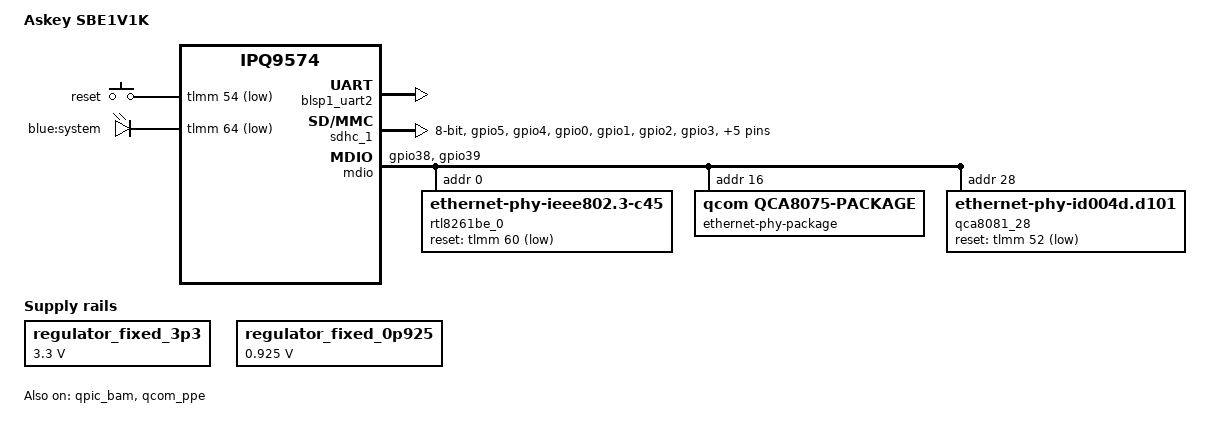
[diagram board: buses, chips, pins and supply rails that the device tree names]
// SPDX-License-Identifier: (GPL-2.0+ OR BSD-3-Clause)

/dts-v1/;

#include "ipq9574.dtsi"

#include <dt-bindings/gpio/gpio.h>
#include <dt-bindings/input/input.h>
#include <dt-bindings/leds/common.h>

/ {
	model = "Askey SBE1V1K";
	compatible = "askey,sbe1v1k", "qcom,ipq9574";

	aliases {
		/*
		led-boot = &led_system;
		led-failsafe = &led_system;
		led-running = &led_system;
		led-upgrade = &led_system;
		*/

		serial0 = &blsp1_uart2;
	};

	chosen {
		stdout-path = "serial0:115200n8";
	};

	regulator_fixed_3p3: s3300 {
		compatible = "regulator-fixed";
		regulator-min-microvolt = <3300000>;
		regulator-max-microvolt = <3300000>;
		regulator-boot-on;
		regulator-always-on;
		regulator-name = "fixed_3p3";
	};

	regulator_fixed_0p925: s0925 {
		compatible = "regulator-fixed";
		regulator-min-microvolt = <925000>;
		regulator-max-microvolt = <925000>;
		regulator-boot-on;
		regulator-always-on;
		regulator-name = "fixed_0p925";
	};

	gpio-keys {
		compatible = "gpio-keys";
		pinctrl-0 = <&gpio_keys_default>;
		pinctrl-names = "default";

		reset {
			label = "reset";
			linux,code = <KEY_RESTART>;
			gpios = <&tlmm 54 GPIO_ACTIVE_LOW>;
			debounce-interal = <60>;
		};
	};

	leds {
		compatible = "gpio-leds";
		
		led_system {
			label = "blue:system";
			gpios = <&tlmm 64 GPIO_ACTIVE_LOW>;
		};
		// OEM DTS uses GPIO 44, 45, 56 and 53 for PWM - not sure for colors?
	};
};

&blsp1_uart2 {
	pinctrl-0 = <&uart2_pins>;
	pinctrl-names = "default";
	status = "okay";
};

&rpm_requests {
	regulators {
		compatible = "qcom,rpm-mp5496-regulators";

		ipq9574_s1: s1 {
		/*
		* During kernel bootup, the SoC runs at 800MHz with 875mV set by the bootloaders.
		* During regulator registration, kernel not knowing the initial voltage,
		* considers it as zero and brings up the regulators with minimum supported voltage.
		* Update the regulator-min-microvolt with SVS voltage of 725mV so that
		* the regulators are brought up with 725mV which is sufficient for all the
		* corner parts to operate at 800MHz
		*/
			regulator-min-microvolt = <725000>;
			regulator-max-microvolt = <1075000>;
		};

		mp5496_l5: l5 {
			regulator-min-microvolt = <1800000>;
			regulator-max-microvolt = <1800000>;
			regulator-always-on;
			regulator-boot-on;
		};
	};
};

&sdhc_1 {
	bus-width = <8>;
	max-frequency = <384000000>;
	mmc-ddr-1_8v;
	mmc-hs200-1_8v;
	mmc-hs400-1_8v;
	mmc-hs400-enhanced-strobe;
	pinctrl-0 = <&sdc_default_state>;
	pinctrl-names = "default";
	status = "okay";
};

&sleep_clk {
	clock-frequency = <32000>;
};

&tlmm {
	gpio_keys_default: gpio-keys-default-state {
		// TODO: verify GPIO54
		pins = "gpio54";
		function = "gpio";
		drive-strength = <8>;
		bias-pull-up;
	};

	mdio_pins: mdio-pins {
		mdc {
			pins = "gpio38";
			function = "mdc";
			drive-strength = <8>;
			bias-pull-up;
		};

		mdio {
			pins = "gpio39";
			function = "mdio";
			drive-strength = <8>;
			bias-pull-up;
		};
	};

	sdc_default_state: sdc-default-state {
		clk-pins {
			pins = "gpio5";
			function = "sdc_clk";
			drive-strength = <8>;
			bias-disable;
		};

		cmd-pins {
			pins = "gpio4";
			function = "sdc_cmd";
			drive-strength = <8>;
			bias-pull-up;
		};

		data-pins {
			pins = "gpio0", "gpio1", "gpio2",
				"gpio3", "gpio6", "gpio7",
				"gpio8", "gpio9";
			function = "sdc_data";
			drive-strength = <8>;
			bias-pull-up;
		};

		rclk-pins {
			pins = "gpio10";
			function = "sdc_rclk";
			drive-strength = <8>;
			bias-pull-down;
		};
	};

	pcie1_default: pcie1-default-state {
		clkreq-n-pins {
			pins = "gpio25";
			function = "pcie1_clk";
			drive-strength = <6>;
			bias-pull-up;
		};

		perst-n-pins {
			pins = "gpio26";
			function = "gpio";
			drive-strength = <8>;
			bias-pull-down;
			output-low;
		};

		wake-n-pins {
			pins = "gpio27";
			function = "pcie1_wake";
			drive-strength = <6>;
			bias-pull-up;
		};
	};

	pcie2_default: pcie2-default-state {
		clkreq-n-pins {
			pins = "gpio28";
			function = "pcie2_clk";
			drive-strength = <6>;
			bias-pull-up;
		};

		perst-n-pins {
			pins = "gpio29";
			function = "gpio";
			drive-strength = <8>;
			bias-pull-down;
			output-low;
		};

		wake-n-pins {
			pins = "gpio30";
			function = "pcie2_wake";
			drive-strength = <6>;
			bias-pull-up;
		};
	};

	pcie3_default: pcie3-default-state {
		clkreq-n-pins {
			pins = "gpio31";
			function = "pcie3_clk";
			drive-strength = <6>;
			bias-pull-up;
		};

		perst-n-pins {
			pins = "gpio32";
			function = "gpio";
			drive-strength = <8>;
			bias-pull-down;
			output-low;
		};

		wake-n-pins {
			pins = "gpio33";
			function = "pcie3_wake";
			drive-strength = <6>;
			bias-pull-up;
		};
	};
};

&qpic_bam {
	status = "okay";
};

&qcom_ppe {
	status = "okay";

	ethernet-ports {
		#address-cells = <1>;
		#size-cells = <0>;

		port@3 {
			reg = <3>;
			phy-mode = "sgmii";
			phy-handle = <&qca8075_18>;
			pcs-handle = <&pcs0_ch2>;
			label = "lan2";

			clocks = <&nsscc NSS_CC_PORT3_MAC_CLK>,
				 <&nsscc NSS_CC_PORT3_RX_CLK>,
				 <&nsscc NSS_CC_PORT3_TX_CLK>;
			clock-names = "port_mac", "port_rx", "port_tx";

			resets = <&nsscc PORT3_MAC_ARES>,
				 <&nsscc PORT3_RX_ARES>,
				 <&nsscc PORT3_TX_ARES>;
			reset-names = "port_mac", "port_rx", "port_tx";
		};

		port@4 {
			reg = <4>;
			phy-mode = "sgmii";
			phy-handle = <&qca8075_19>;
			pcs-handle = <&pcs0_ch3>;
			label = "lan3";

			clocks = <&nsscc NSS_CC_PORT4_MAC_CLK>,
				 <&nsscc NSS_CC_PORT4_RX_CLK>,
				 <&nsscc NSS_CC_PORT4_TX_CLK>;
			clock-names = "port_mac", "port_rx", "port_tx";

			resets = <&nsscc PORT4_MAC_ARES>,
				 <&nsscc PORT4_RX_ARES>,
				 <&nsscc PORT4_TX_ARES>;
			reset-names = "port_mac", "port_rx", "port_tx";
		};

		port@5 {
			reg = <5>;
			phy-mode = "2500base-x";
			phy-handle = <&qca8081_28>;
			pcs-handle = <&pcs1_ch0>;
			label = "lan1";

			clocks = <&nsscc NSS_CC_PORT5_MAC_CLK>,
				 <&nsscc NSS_CC_PORT5_RX_CLK>,
				 <&nsscc NSS_CC_PORT5_TX_CLK>;
			clock-names = "port_mac", "port_rx", "port_tx";

			resets = <&nsscc PORT5_MAC_ARES>,
				 <&nsscc PORT5_RX_ARES>,
				 <&nsscc PORT5_TX_ARES>;
			reset-names = "port_mac", "port_rx", "port_tx";
		};

		port@6 {
			reg = <6>;
			phy-mode = "usxgmii";
			phy-handle = <&rtl8261be_0>;
			pcs-handle = <&pcs2_ch0>;
			label = "wan";
			managed = "in-band-status";

			clocks = <&nsscc NSS_CC_PORT6_MAC_CLK>,
				 <&nsscc NSS_CC_PORT6_RX_CLK>,
				 <&nsscc NSS_CC_PORT6_TX_CLK>;
			clock-names = "port_mac", "port_rx", "port_tx";

			resets = <&nsscc PORT6_MAC_ARES>,
				 <&nsscc PORT6_RX_ARES>,
				 <&nsscc PORT6_TX_ARES>;
			reset-names = "port_mac", "port_rx", "port_tx";
		};
	};
};

&mdio {
	pinctrl-0 = <&mdio_pins>;
	pinctrl-names = "default";
	status = "okay";

	/* OEM DTS defines phy-reset-gpio = <&tlmm 60>, <&tlmm 52>;
	 * GPIO 52 is used for QCA8081 below.
	 * GPIO 60 is assigned here to the RTL8261BE (10G), but it might also 
	 * be a shared reset for the QCA8075?
	 */

	rtl8261be_0: ethernet-phy@5 {
		reg = <0>;
		compatible = "ethernet-phy-ieee802.3-c45";
		reset-gpios = <&tlmm 60 GPIO_ACTIVE_LOW>;
		reset-assert-us = <40000>;
		reset-deassert-us = <150000>;
	};

	ethernet-phy-package@16 {
		compatible = "qcom,qca8075-package";
		#address-cells = <1>;
		#size-cells = <0>;
		reg = <16>;

		qcom,package-mode = "qsgmii";

		qca8075_18: ethernet-phy@18 {
			reg = <18>;
			compatible = "ethernet-phy-ieee802.3-c22";
		};

		qca8075_19: ethernet-phy@19 {
			reg = <19>;
			compatible = "ethernet-phy-ieee802.3-c22";
		};
	};

	qca8081_28: ethernet-phy@28 {
		compatible = "ethernet-phy-id004d.d101"; 
		reg = <28>;
		reset-gpios = <&tlmm 52 GPIO_ACTIVE_LOW>;
		reset-deassert-us = <10000>;
	};
};
